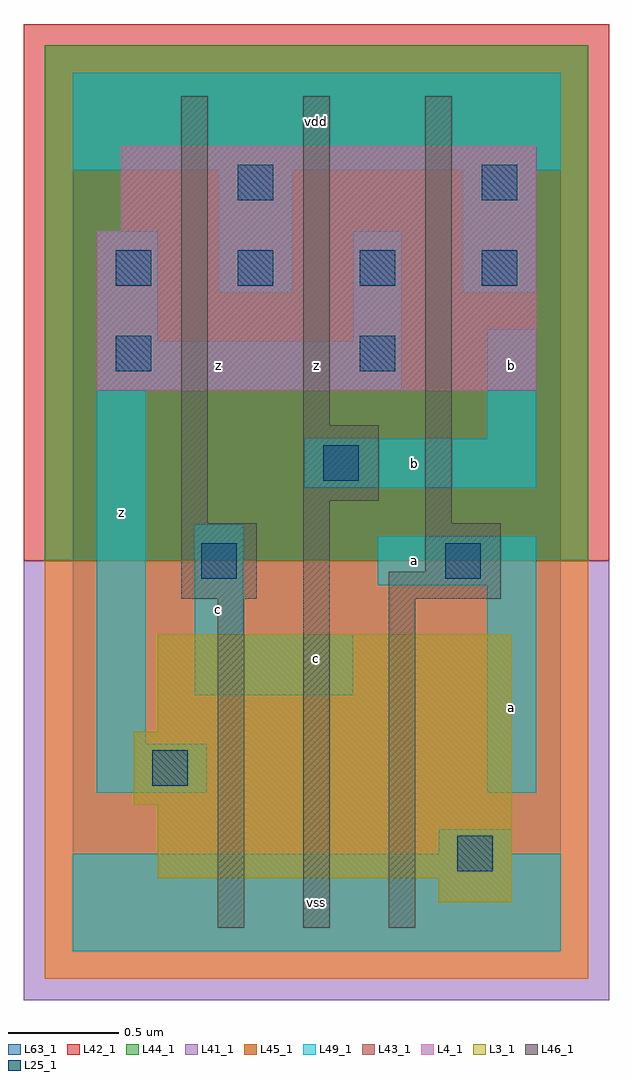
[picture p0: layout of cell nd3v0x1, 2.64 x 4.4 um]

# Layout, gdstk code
import gdstk
lib = gdstk.Library(unit=1e-6, precision=1e-09)
def R(c, l, rs):  # rectangles x0, y0, x1, y1
    for r in rs: c.add(gdstk.rectangle(r[:2], r[2:], *l))
def A(c, l, x, y, w, h, nx, ny, dx, dy):  # array of equal rectangles
    R(c, l, [(x+i*dx, y+j*dy, x+i*dx+w, y+j*dy+h) for i in range(nx) for j in range(ny)])
L3_1 = (3, 1)
L4_1 = (4, 1)
L25_1 = (25, 1)
L41_1 = (41, 1)
L42_1 = (42, 1)
L43_1 = (43, 1)
L44_1 = (44, 1)
L45_1 = (45, 1)
L46_1 = (46, 1)
L49_1 = (49, 1)
L63_1 = (63, 1)

nd3v0x1 = lib.new_cell('nd3v0x1')
R(nd3v0x1, L3_1, [(1.65,0.22,1.98,0.33), (0.385,0.33,1.98,0.66), (0.275,0.66,1.98,0.99), (0.385,0.99,1.98,1.43)])
R(nd3v0x1, L4_1, [(0.11,2.53,2.09,3.245), (0.22,3.245,2.09,3.63)])
A(nd3v0x1, L25_1, 0.195, 3, 0.16, 0.16, 4, 1, 0.55, 0)
R(nd3v0x1, L25_1, [(1.735,0.36,1.895,0.52), (0.36,0.745,0.52,0.905), (0.58,1.68,0.74,1.84), (1.68,1.68,1.84,1.84), (1.13,2.12,1.29,2.28), (0.195,2.615,0.355,2.775), (1.295,2.615,1.455,2.775), (0.745,3.385,0.905,3.545), (1.845,3.385,2.005,3.545)])
R(nd3v0x1, L41_1, [(-0.22,-0.22,2.42,1.76)])
R(nd3v0x1, L42_1, [(-0.22,1.76,2.42,4.18)])
R(nd3v0x1, L43_1, [(1.65,0.22,1.98,0.33), (0.385,0.33,1.98,0.66), (0.275,0.66,1.98,0.99), (0.385,0.99,1.98,1.43), (0.11,2.53,2.09,3.245), (0.22,3.245,2.09,3.63)])
R(nd3v0x1, L44_1, [(-0.125,1.76,2.325,4.085)])
R(nd3v0x1, L45_1, [(-0.125,-0.125,2.325,1.76)])
R(nd3v0x1, L46_1, [(0.655,0.105,0.775,1.59), (1.04,0.105,1.16,2.03), (1.425,0.105,1.545,1.59), (0.49,1.59,0.83,1.93), (1.425,1.59,1.93,1.71), (1.59,1.71,1.93,1.93), (0.49,1.93,0.61,3.855), (1.59,1.93,1.71,3.855), (1.04,2.03,1.38,2.37), (1.04,2.37,1.16,3.855)])
R(nd3v0x1, L49_1, [(0,0,2.2,0.44), (1.65,0.44,1.98,0.55), (0.11,0.715,0.605,0.935), (1.87,0.715,2.09,1.65), (0.11,0.935,0.33,2.53), (0.55,1.155,1.265,1.43), (0.55,1.43,0.77,1.925), (1.375,1.65,2.09,1.87), (1.045,2.09,2.09,2.31), (1.87,2.31,2.09,2.805), (0.11,2.53,1.485,2.75), (0.11,2.75,0.385,3.245), (1.265,2.75,1.485,3.245), (0.66,2.97,0.99,3.52), (1.76,2.97,2.09,3.52), (0,3.52,2.2,3.96)])
R(nd3v0x1, L63_1, [(0,0,2.2,3.96)])
nd3v0x1.add(gdstk.Label('z', (0.22,1.98), layer=49, texttype=1))
nd3v0x1.add(gdstk.Label('c', (0.66,1.54), layer=49, texttype=1))
nd3v0x1.add(gdstk.Label('z', (0.66,2.64), layer=49, texttype=1))
nd3v0x1.add(gdstk.Label('vss', (1.1,0.22), layer=49, texttype=1))
nd3v0x1.add(gdstk.Label('c', (1.1,1.32), layer=49, texttype=1))
nd3v0x1.add(gdstk.Label('a', (1.54,1.76), layer=49, texttype=1))
nd3v0x1.add(gdstk.Label('b', (1.54,2.2), layer=49, texttype=1))
nd3v0x1.add(gdstk.Label('z', (1.1,2.64), layer=49, texttype=1))
nd3v0x1.add(gdstk.Label('vdd', (1.1,3.74), layer=49, texttype=1))
nd3v0x1.add(gdstk.Label('a', (1.98,1.1), layer=49, texttype=1))
nd3v0x1.add(gdstk.Label('b', (1.98,2.64), layer=49, texttype=1))

lib.write_gds('nd3v0x1.gds')
